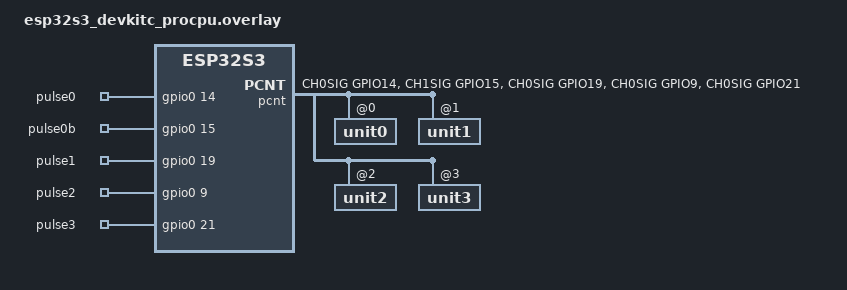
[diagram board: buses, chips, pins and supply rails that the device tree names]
/*
 * SPDX-License-Identifier: Apache-2.0
 *
 * Copyright (c) 2026 Espressif Systems (Shanghai) Co., Ltd.
 *
 * Self-loopback test overlay:
 *   unit 0 : GPIO14 (CH0 sig)      + GPIO15 (CH1 sig, quadrature phase B)
 *   unit 1 : GPIO19 (CH0 sig)
 *   unit 2 : GPIO16 (CH0 sig)      -- carries high-limit watchpoint
 *   unit 3 : GPIO21 (CH0 sig)      -- carries zero-cross watchpoint
 *
 *   One shared GPIO8 acts as the CH0 control input for every unit. The
 *   ctrl-h-mode/ctrl-l-mode fields are set to 0 ("no effect on counter")
 *   so the pad only needs a pull-up to sit idle high.
 */

/ {
	aliases {
		qdec0 = &pcnt;
		pulse0 = &pulse0_alias;
		pulse0b = &pulse0b_alias;
		pulse1 = &pulse1_alias;
		pulse2 = &pulse2_alias;
		pulse3 = &pulse3_alias;
	};

	pulse_aliases {
		compatible = "gpio-keys";

		pulse0_alias: pulse0_alias {
			gpios = <&gpio0 14 GPIO_ACTIVE_HIGH>;
			label = "pulse0";
		};

		pulse0b_alias: pulse0b_alias {
			gpios = <&gpio0 15 GPIO_ACTIVE_HIGH>;
			label = "pulse0b";
		};

		pulse1_alias: pulse1_alias {
			gpios = <&gpio0 19 GPIO_ACTIVE_HIGH>;
			label = "pulse1";
		};

		pulse2_alias: pulse2_alias {
			gpios = <&gpio0 9 GPIO_ACTIVE_HIGH>;
			label = "pulse2";
		};

		pulse3_alias: pulse3_alias {
			gpios = <&gpio0 21 GPIO_ACTIVE_HIGH>;
			label = "pulse3";
		};
	};
};

&pinctrl {
	pcnt_default: pcnt_default {
		group1 {
			pinmux = <PCNT0_CH0SIG_GPIO14>,
				 <PCNT0_CH1SIG_GPIO15>,
				 <PCNT1_CH0SIG_GPIO19>,
				 <PCNT2_CH0SIG_GPIO9>,
				 <PCNT3_CH0SIG_GPIO21>;
		};
	};
};

&pcnt {
	pinctrl-0 = <&pcnt_default>;
	pinctrl-names = "default";
	status = "okay";
	#address-cells = <1>;
	#size-cells = <0>;

	/*
	 * unit 0: quadrature-capable (CH0 + CH1 wired).
	 *
	 * Channel A (reg=0): rising edge on sig -> increment, falling -> decrement.
	 * Channel B (reg=1): rising edge on sig -> decrement, falling -> increment.
	 *
	 * Together this forms a 4x quadrature decoder when both signals move
	 * 90 degrees out of phase. If we drive only sig A in simple toggles
	 * with sig B held low, channel A contributes both sides of the wave
	 * (pos: +1, neg: -1 - net 0). For the simple counting tests we hold
	 * the B input low, so sig_neg_mode is set to 0 on channel A to
	 * guarantee +1 per rising edge only.
	 */
	unit0@0 {
		reg = <0>;
		#address-cells = <1>;
		#size-cells = <0>;
		counts-per-revolution = <400>;

		channelA@0 {
			reg = <0>;
			sig-pos-mode = <1>;
			sig-neg-mode = <0>;
			ctrl-h-mode = <0>;
			ctrl-l-mode = <0>;
		};

		channelB@1 {
			reg = <1>;
			sig-pos-mode = <2>;
			sig-neg-mode = <0>;
			ctrl-h-mode = <0>;
			ctrl-l-mode = <0>;
		};
	};

	unit1@1 {
		reg = <1>;
		#address-cells = <1>;
		#size-cells = <0>;

		channelA@0 {
			reg = <0>;
			sig-pos-mode = <1>;
			sig-neg-mode = <0>;
			ctrl-h-mode = <0>;
			ctrl-l-mode = <0>;
		};
	};

	/* unit 2: armed with a high-limit watchpoint at +10 */
	unit2@2 {
		reg = <2>;
		#address-cells = <1>;
		#size-cells = <0>;
		high-limit = <10>;

		channelA@0 {
			reg = <0>;
			sig-pos-mode = <1>;
			sig-neg-mode = <0>;
			ctrl-h-mode = <0>;
			ctrl-l-mode = <0>;
		};
	};

	/*
	 * unit 3: same wiring as unit1/2 but with zero-cross-event enabled.
	 * We verify the DT wiring compiles and the unit still counts normally;
	 * triggering the zero-cross event at runtime would require the counter
	 * to be driven negative first, which needs additional bench setup.
	 */
	unit3@3 {
		reg = <3>;
		#address-cells = <1>;
		#size-cells = <0>;
		zero-cross-event;

		channelA@0 {
			reg = <0>;
			sig-pos-mode = <1>;
			sig-neg-mode = <0>;
			ctrl-h-mode = <0>;
			ctrl-l-mode = <0>;
		};
	};
};
